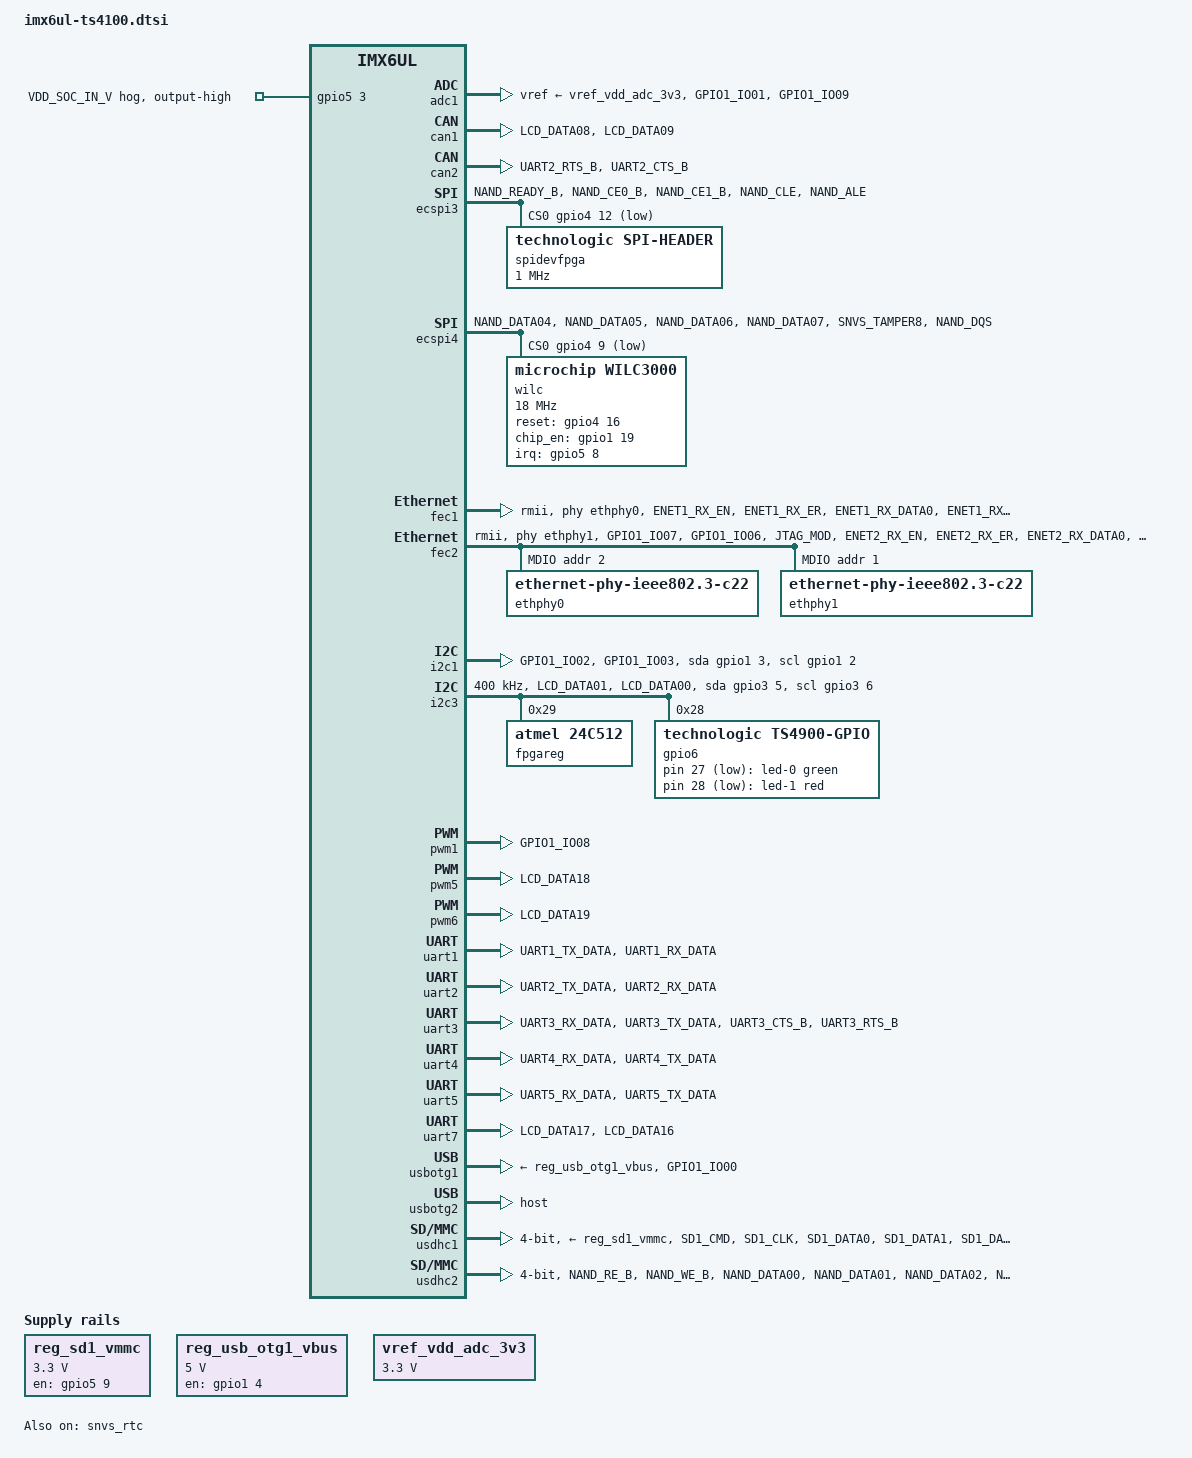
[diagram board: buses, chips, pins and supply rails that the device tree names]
// SPDX-License-Identifier: GPL-2.0 OR X11
/*
 * Copyright (C) 2023 Technologic Systems, Inc. dba embeddedTS
 */

#include <dt-bindings/input/input.h>
#include <dt-bindings/leds/common.h>
#include "imx6ul.dtsi"

/ {
	aliases {
		ethernet0 = &fec2;
		ethernet1 = &fec1;
		gpio5 = &gpio6; /* Map FPGA gpio expander to gpiochip5 */
	};

	chosen {
		stdout-path = &uart1;
	};

	led-controller {
		compatible = "gpio-leds";

		led-0 {
			color = <LED_COLOR_ID_GREEN>;
			function = LED_FUNCTION_POWER;
			gpios = <&gpio6 27 GPIO_ACTIVE_LOW>;
			default-state = "on";
		};

		led-1 {
			color = <LED_COLOR_ID_RED>;
			function = LED_FUNCTION_INDICATOR;
			gpios = <&gpio6 28 GPIO_ACTIVE_LOW>;
			default-state = "off";
		};
	};

	memory {
		/* Memory size to be filled in by U-Boot */
		reg = <0x80000000 0>;
	};

	reg_sd1_vmmc: regulator-sd1-vmmc {
		compatible = "regulator-fixed";
		pinctrl-names = "default";
		pinctrl-0 = <&pinctrl_sd1_vmmc>;
		regulator-name = "SD1_VMMC";
		regulator-min-microvolt = <3300000>;
		regulator-max-microvolt = <3300000>;
		enable-gpio = <&gpio5 9 GPIO_ACTIVE_HIGH>;
		enable-active-high;
	};

	reg_usb_otg1_vbus: regulator-otg1-vbus {
		compatible = "regulator-fixed";
		pinctrl-names = "default";
		pinctrl-0 = <&pinctrl_usb_otg1>;
		regulator-name = "USB_OTG1_VBUS";
		regulator-min-microvolt = <5000000>;
		regulator-max-microvolt = <5000000>;
		gpio = <&gpio1 4 GPIO_ACTIVE_HIGH>;
		enable-active-high;
	};

	vref_vdd_adc_3v3: regulator-adc-vref {
	      compatible = "regulator-fixed";
	      regulator-name = "ADC_VREF";
	      regulator-min-microvolt = <3300000>;
	      regulator-max-microvolt = <3300000>;
	      regulator-boot-on;
	      regulator-always-on;
	};
};

&adc1  {
	pinctrl-names = "default";
	pinctrl-0 = <&pinctrl_adc1>;
	vref-supply = <&vref_vdd_adc_3v3>;
	status = "okay";
};

&can1 {
	pinctrl-names = "default";
	pinctrl-0 = <&pinctrl_flexcan1>;
	status = "okay";
};

&can2 {
	pinctrl-names = "default";
	pinctrl-0 = <&pinctrl_flexcan2>;
	status = "okay";
};

&ecspi3 {
	num-cs = <1>;
	cs-gpios = <&gpio4 12 GPIO_ACTIVE_LOW>;
	pinctrl-names = "default";
	pinctrl-0 = <&pinctrl_ecspi3>;
	status = "okay";

	spidevfpga: spi@0 {
		compatible = "technologic,spi-header";
		reg = <0>;
		spi-max-frequency = <1000000>;
	};
};

&ecspi4 {
	num-cs = <1>;
	cs-gpios = <&gpio4 9 GPIO_ACTIVE_LOW>;
	pinctrl-names = "default";
	pinctrl-0 = <&pinctrl_ecspi4>;
	status = "okay";

	wilc: wifi@0 {
		compatible = "microchip,wilc3000";
		reg = <0>;
		/* XXX: Lower this */
		spi-max-frequency = <18000000>;
		reset-gpios = <&gpio4 16 GPIO_ACTIVE_HIGH>;
		chip_en-gpios = <&gpio1 19 GPIO_ACTIVE_HIGH>;
		interrupt-parent = <&gpio5>;
		interrupts = <8 IRQ_TYPE_EDGE_FALLING>;
	};
};

&fec1 {
	pinctrl-names = "default";
	pinctrl-0 = <&pinctrl_enet1>;
	phy-mode = "rmii";
	phy-handle = <&ethphy0>;
	status = "okay";
};

&fec2 {
	pinctrl-names = "default";
	pinctrl-0 = <&pinctrl_enet2>;
	phy-mode = "rmii";
	phy-handle = <&ethphy1>;
	status = "okay";

	mdio {
		#address-cells = <1>;
		#size-cells = <0>;

		ethphy0: ethernet-phy@2 {
			clocks = <&clks IMX6UL_CLK_ENET_REF>;
			clock-names = "rmii-ref";
			compatible = "ethernet-phy-ieee802.3-c22";
			reg = <2>;
		};

		ethphy1: ethernet-phy@1 {
			clocks = <&clks IMX6UL_CLK_ENET2_REF>;
			clock-names = "rmii-ref";
			compatible = "ethernet-phy-ieee802.3-c22";
			reg = <1>;
		};
	};
};

&gpio1 {
	gpio-line-names = "USB_OTG_ID", "GPIO_1_ADC", "I2C_1_CLK", "I2C_1_DAT",
		"EN_OTG1_5V", "", "", "", "GPIO_8_PWM", "GPIO_9_ADC", "", "",
		"", "", "", "", "", "", "SPARE_1", "SPARE_2";
};

&gpio3 {
	gpio-line-names = "LCD_PIX_CLK", "EN_LCD_3.3V", "LCD_HSYNC", "LCD_VSYNC",
		"", "I2C_3_DAT", "I2C_3_CLK", "LCD_D02", "LCD_D03", "LCD_D04",
		"LCD_D05", "LCD_D06", "LCD_D07", "", "", "LCD_D10", "LCD_D11",
		"LCD_D12", "LCD_D13", "LCD_D14", "LCD_D15", "", "", "LCD_D18_PWM5",
		"LCD_D19_PWM6", "LCD_D20", "LCD_D21", "LCD_D22", "LCD_D23";
};

&gpio4 {
	gpio-line-names = "", "", "", "", "", "", "", "", "", "", "", "FPGA_RESET#",
		"", "", "", "", "", "CAM_MCLK", "CAM_PIX_CLK", "CAM_VSYNC",
		"CAM_HSYNC", "CAM_D_0", "CAM_D_1", "CAM_D_2", "CAM_D_3", "CAM_D_4",
		"CAM_D_5", "CAM_D_6", "CAM_D_7";
};

&gpio5 {
	gpio-line-names = "POWER_FAIL", "FPGA_IRQ", "EN_EMMC_PWR", "",
		"JTAG_FPGA_TDO", "JTAG_FPGA_TDI", "JTAG_FPGA_TMS", "JTAG_JTAG_TCK";

	vdd-soc-in-v-hog {
		gpio-hog;
		gpios = <3 GPIO_ACTIVE_HIGH>;
		output-high;
		line-name = "VDD_SOC_IN_V";
	};
};

/* These must be GPIO mode for uC WDT */
&i2c1 {
	compatible = "i2c-gpio";
	pinctrl-names = "default";
	pinctrl-0 = <&pinctrl_i2c1_gpio>;
	sda-gpios = <&gpio1 3 (GPIO_ACTIVE_HIGH|GPIO_OPEN_DRAIN)>;
	scl-gpios = <&gpio1 2 (GPIO_ACTIVE_HIGH|GPIO_OPEN_DRAIN)>;
	#address-cells = <1>;
	#size-cells = <0>;
	status = "okay";

	silabs: wdt@4a {
		compatible = "technologic,ts-wdt";
		timeout-sec = <500>;
		enable-early;
		reg = <0x4a>;
		/*
		 * Not using uC WDT by default any longer. If you need features
		 * provided by this, such as a real poweroff state, an external
		 * WDT, or proper feedback from the uC on the platform's reboot
		 * source (via tsmicroctl), then enable this driver (and disable
		 * the CPU driver, wdog1,  unless you want both active).
		 */
		status = "disabled";
	};
};

&i2c3 {
	clock-frequency = <400000>;
	pinctrl-names = "default", "gpio";
	pinctrl-0 = <&pinctrl_i2c3>;
	pinctrl-1 = <&pinctrl_i2c3_gpio>;
	status = "okay";
	sda-gpios = <&gpio3 5 (GPIO_ACTIVE_HIGH|GPIO_OPEN_DRAIN)>;
	scl-gpios = <&gpio3 6 (GPIO_ACTIVE_HIGH|GPIO_OPEN_DRAIN)>;

	/* FPGA emulates register access like an eeprom */
	fpgareg: eeprom@29 {
		compatible = "atmel,24c512";
		reg = <0x29>;
	};

	/* This may need to be reworked here */
	gpio6: gpio-controller@28 {
		compatible = "technologic,ts4900-gpio";
		reg = <0x28>;
		#gpio-cells = <2>;
		gpio-controller;
		base = <160>;
		ngpios = <128>;

		gpio-line-names = "", "SPARE_1", "SPARE_2", "WIFI_RESET#", "WIFI_IRQ",
			"UART2_TXD", "UART2_CTS#", "UART3_TXD", "UART6_TXD",
			"UART2_RXD", "UART2_RTS#", "UART3_RXD", "UART6_RXD",
			"WIFI_RXD", "WIFI_RTS", "WIFI_IRQ#", "WIFI_TXD",
			"WIFI_CTS", "ZPU_BREAK", "ZPU_RESET", "EN_WIFI_PWR",
			"WIFI_RESET#", "EN_USB_HOST_5V", "EN_LCD_3V3",
			"ETH_PHY_RESET#", "OFF_BD_RESET#", "", "GREEN_LED#",
			"RED_LED#", "UARTA_RXD", "UARTB_RXD", "UARTC_RXD",
			"UARTD_RXD", "UARTA_TXD", "UARTB_TXD", "UARTC_TXD",
			"UARTD_TXD", "DIO_0", "DIO_1", "DIO_2", "DIO_3", "DIO_4",
			"DIO_5", "DIO_6", "DIO_7", "DIO_8", "DIO_9", "", "",
			"DIO_12", "DIO_13", "DIO_14", "DIO_15", "DIO_16", "DIO_17",
			"DIO_18", "DIO_19", "DIO_20", "DIO_21", "DIO_22",
			"DIO_23", "DIO_24", "DIO_25", "DIO_26", "DIO_27",
			"DIO_28", "DIO_29", "DIO_30", "DIO_31", "DIO_32",
			"DIO_33", "DIO_34", "DIO_35", "DIO_36", "DIO_37",
			"DIO_38", "DIO_39", "", "DIO_41", "DIO_42", "DIO_43",
			"DIO_44", "DIO_45", "DIO_46";
	};
};

&iomuxc {
	pinctrl-names = "default";
	pinctrl-0 = <&ts4100_pinctrl_hog>;
	imx6ul-ts4100 {
		/* NOTE: All of the hogged pins below are the common rule.
		 * Exceptions for them are listed in their respective baseboard
		 * DTS.
		 *
		 * Most IO pins default to GPIO, however they are set up with
		 * keepers rather than a sane pull.  Because of that, we have to
		 * list them all here so they are set up in a known state.
		 * It is then up to individual DTS files to call out the pinctrl
		 * needed for pins that could have different states.
		 */
		/* All GPIO should be 0x1b020 unless special
		 * 0x1b020 == Hyst., 100k PU, 50 mA drive
		 * 0x1a020 == no pull resistor
		 * 0x13020 == 100k PD
		 */
		ts4100_pinctrl_hog: hoggrp {
			fsl,pins = <
				/* SD1 VSELECT, special setting */
				MX6UL_PAD_GPIO1_IO05__USDHC1_VSELECT	0x17059
				/* POWER_FAIL */
				MX6UL_PAD_SNVS_TAMPER0__GPIO5_IO00	0x13020
				/* FPGA_IRQ */
				MX6UL_PAD_SNVS_TAMPER1__GPIO5_IO01	0x13020
				/* FPGA_RESET# */
				MX6UL_PAD_NAND_WP_B__GPIO4_IO11		0x1b020
				/* JTAG_FPGA_TDO */
				MX6UL_PAD_SNVS_TAMPER4__GPIO5_IO04	0x1b020
				/* JTAG_FPGA_TDI */
				MX6UL_PAD_SNVS_TAMPER5__GPIO5_IO05	0x1b020
				/* JTAG_FPGA_TMS */
				MX6UL_PAD_SNVS_TAMPER6__GPIO5_IO06	0x1b020
				/* JTAG_FPGA_TCK */
				MX6UL_PAD_SNVS_TAMPER7__GPIO5_IO07	0x1b020
				/* SPARE_1 */
				MX6UL_PAD_UART1_CTS_B__GPIO1_IO18	0x1b020
				/* SPARE_2 */
				MX6UL_PAD_UART1_RTS_B__GPIO1_IO19	0x1b020
				/* eMMC En. */
				MX6UL_PAD_SNVS_TAMPER2__GPIO5_IO02	0x1b020
				/* VDD_SOC_IN_V control */
				MX6UL_PAD_SNVS_TAMPER3__GPIO5_IO03	0x79
			>;
		};

		pinctrl_adc1: adc1grp{
			fsl,pins = <
				MX6UL_PAD_GPIO1_IO01__GPIO1_IO01	0x1a020
				MX6UL_PAD_GPIO1_IO09__GPIO1_IO09	0x1a020
			>;
		};

		pinctrl_cam_gpio: cameragpio {
			fsl,pins = <
				/* Camera interface pins */
				MX6UL_PAD_CSI_DATA00__GPIO4_IO21	0x1b020
				MX6UL_PAD_CSI_DATA01__GPIO4_IO22	0x1b020
				MX6UL_PAD_CSI_DATA02__GPIO4_IO23	0x1b020
				MX6UL_PAD_CSI_DATA03__GPIO4_IO24	0x1b020
				MX6UL_PAD_CSI_DATA04__GPIO4_IO25	0x1b020
				MX6UL_PAD_CSI_DATA05__GPIO4_IO26	0x1b020
				MX6UL_PAD_CSI_DATA06__GPIO4_IO27	0x1b020
				MX6UL_PAD_CSI_DATA07__GPIO4_IO28	0x1b020
				MX6UL_PAD_CSI_HSYNC__GPIO4_IO20		0x1b020
				MX6UL_PAD_CSI_MCLK__GPIO4_IO17		0x1b020
				MX6UL_PAD_CSI_PIXCLK__GPIO4_IO18	0x1b020
				MX6UL_PAD_CSI_VSYNC__GPIO4_IO19		0x1b020
			>;
		};

		pinctrl_ecspi3: ecspi3grp {
			fsl,pins = <
				/* SPI_3_FPGA_CS# */
				MX6UL_PAD_NAND_READY_B__GPIO4_IO12 	0x10b0
				MX6UL_PAD_NAND_CE0_B__ECSPI3_SCLK	0x10b0
				MX6UL_PAD_NAND_CE1_B__ECSPI3_MOSI	0x10b0
				MX6UL_PAD_NAND_CLE__ECSPI3_MISO		0x10b0
				/* SPI_3_OFF_BD_CS# */
				MX6UL_PAD_NAND_ALE__GPIO4_IO10		0x10b0
			>;
		};

		pinctrl_ecspi4: ecspi4grp {
			fsl,pins = <
				MX6UL_PAD_NAND_DATA04__ECSPI4_SCLK	0x10b0
				MX6UL_PAD_NAND_DATA05__ECSPI4_MOSI	0x10b0
				MX6UL_PAD_NAND_DATA06__ECSPI4_MISO	0x10b0
				/* WIFI chip select */
				MX6UL_PAD_NAND_DATA07__GPIO4_IO09	0x10b0
				/* SPARE_4/WIFI_IRQ */
				MX6UL_PAD_SNVS_TAMPER8__GPIO5_IO08	0x1b020
				/* SPARE_3/WIFI_RESET# */
				MX6UL_PAD_NAND_DQS__GPIO4_IO16		0x1b020
			>;
		};

		pinctrl_enet1: enet1grp {
			fsl,pins = <
				MX6UL_PAD_ENET1_RX_EN__ENET1_RX_EN	0x1b0b0
				MX6UL_PAD_ENET1_RX_ER__ENET1_RX_ER	0x1b0b0
				MX6UL_PAD_ENET1_RX_DATA0__ENET1_RDATA00	0x1b0b0
				MX6UL_PAD_ENET1_RX_DATA1__ENET1_RDATA01	0x1b0b0
				MX6UL_PAD_ENET1_TX_EN__ENET1_TX_EN	0x1b0b0
				MX6UL_PAD_ENET1_TX_DATA0__ENET1_TDATA00	0x1b0b0
				MX6UL_PAD_ENET1_TX_DATA1__ENET1_TDATA01	0x1b0b0
				MX6UL_PAD_ENET1_TX_CLK__ENET1_REF_CLK1	0x4001b031
			>;
		};

		pinctrl_enet2: enet2grp {
			fsl,pins = <
				MX6UL_PAD_GPIO1_IO07__ENET2_MDC		0x1b0b0
				MX6UL_PAD_GPIO1_IO06__ENET2_MDIO	0x1b0b0
				MX6UL_PAD_JTAG_MOD__GPIO1_IO10		0x1f0b0
				MX6UL_PAD_ENET2_RX_EN__ENET2_RX_EN	0x1b0b0
				MX6UL_PAD_ENET2_RX_ER__ENET2_RX_ER	0x1b0b0
				MX6UL_PAD_ENET2_RX_DATA0__ENET2_RDATA00	0x1b0b0
				MX6UL_PAD_ENET2_RX_DATA1__ENET2_RDATA01	0x1b0b0
				MX6UL_PAD_ENET2_TX_EN__ENET2_TX_EN	0x1b0b0
				MX6UL_PAD_ENET2_TX_DATA0__ENET2_TDATA00	0x1b0b0
				MX6UL_PAD_ENET2_TX_DATA1__ENET2_TDATA01	0x1b0b0
				MX6UL_PAD_ENET2_TX_CLK__ENET2_REF_CLK2	0x4001b031
			>;
		};

		pinctrl_flexcan1: flexcan1grp{
			fsl,pins = <
				MX6UL_PAD_LCD_DATA08__FLEXCAN1_TX	0x1b020
				MX6UL_PAD_LCD_DATA09__FLEXCAN1_RX	0x1b020
			>;
		};

		pinctrl_flexcan2: flexcan2grp{
			fsl,pins = <
				MX6UL_PAD_UART2_RTS_B__FLEXCAN2_RX	0x1b020
				MX6UL_PAD_UART2_CTS_B__FLEXCAN2_TX	0x1b020
			>;
		};

		pinctrl_i2c1_gpio: i2c1grpgpio {
			fsl,pins = <
				MX6UL_PAD_GPIO1_IO02__GPIO1_IO02	0x4001b8b0
				MX6UL_PAD_GPIO1_IO03__GPIO1_IO03	0x4001b8b0
			>;
		};

		pinctrl_i2c3: i2c3grp {
			fsl,pins = <
				MX6UL_PAD_LCD_DATA01__I2C3_SCL		0x4001b8b0
				MX6UL_PAD_LCD_DATA00__I2C3_SDA		0x4001b8b0
			>;
		};

		pinctrl_i2c3_gpio: i2c3grpgpio {
			fsl,pins = <
				MX6UL_PAD_LCD_DATA01__GPIO3_IO06	0x4001b8b0
				MX6UL_PAD_LCD_DATA00__GPIO3_IO05	0x4001b8b0
			>;
		};

		pinctrl_lcd_gpio: lcdgpio {
			fsl,pins = <
				/* LCD Interface pins */
				MX6UL_PAD_LCD_DATA02__GPIO3_IO07	0x1b020
				MX6UL_PAD_LCD_DATA03__GPIO3_IO08	0x1b020
				MX6UL_PAD_LCD_DATA04__GPIO3_IO09	0x1b020
				MX6UL_PAD_LCD_DATA05__GPIO3_IO10	0x1b020
				MX6UL_PAD_LCD_DATA06__GPIO3_IO11	0x1b020
				MX6UL_PAD_LCD_DATA07__GPIO3_IO12	0x1b020
				MX6UL_PAD_LCD_DATA10__GPIO3_IO15	0x1b020
				MX6UL_PAD_LCD_DATA11__GPIO3_IO16	0x1b020
				MX6UL_PAD_LCD_DATA12__GPIO3_IO17	0x1b020
				MX6UL_PAD_LCD_DATA13__GPIO3_IO18	0x1b020
				MX6UL_PAD_LCD_DATA14__GPIO3_IO19	0x1b020
				MX6UL_PAD_LCD_DATA15__GPIO3_IO20	0x1b020
				MX6UL_PAD_LCD_DATA20__GPIO3_IO25	0x1b020
				MX6UL_PAD_LCD_DATA21__GPIO3_IO26	0x1b020
				MX6UL_PAD_LCD_DATA22__GPIO3_IO27	0x1b020
				MX6UL_PAD_LCD_DATA23__GPIO3_IO28	0x1b020
				MX6UL_PAD_LCD_CLK__GPIO3_IO00		0x1b020
				MX6UL_PAD_LCD_ENABLE__GPIO3_IO01	0x1b020
				MX6UL_PAD_LCD_HSYNC__GPIO3_IO02		0x1b020
				MX6UL_PAD_LCD_VSYNC__GPIO3_IO03		0x1b020
			>;
		};

		pinctrl_pwm1: ts4100pwm1 {
			fsl,pins = <
				MX6UL_PAD_GPIO1_IO08__PWM1_OUT		0x13020
			>;
		};

		/*  adc1 is currently using IO09,to use pwm2 remove IO09 from the ADC
		 *  definition and set pwm2 peripheral to "okay"
		 */
		pinctrl_pwm2: ts4100pwm2 {
			fsl,pins = <
				MX6UL_PAD_GPIO1_IO09__PWM2_OUT		0x13020
			>;
		};

		pinctrl_pwm5: ts4100pwm5 {
			fsl,pins = <
				MX6UL_PAD_LCD_DATA18__PWM5_OUT		0x13020
			>;
		};

		pinctrl_pwm6: ts4100pwm6 {
			fsl,pins = <
				MX6UL_PAD_LCD_DATA19__PWM6_OUT		0x13020
			>;
		};

		pinctrl_sai2: sai2grp {
			fsl,pins = <
				MX6UL_PAD_JTAG_TDI__SAI2_TX_BCLK	0x17088
				MX6UL_PAD_JTAG_TDO__SAI2_TX_SYNC	0x17088
				MX6UL_PAD_JTAG_TRST_B__SAI2_TX_DATA	0x11088
				MX6UL_PAD_JTAG_TCK__SAI2_RX_DATA	0x11088
				MX6UL_PAD_JTAG_TMS__SAI2_MCLK		0x17088
			>;
		};

		pinctrl_sd1_vmmc: sd1vmmcgrp {
			fsl,pins = <
				/* EN_SD_POWER, special setting*/
				MX6UL_PAD_SNVS_TAMPER9__GPIO5_IO09	0x17059
			>;
		};

		pinctrl_uart1: uart1grp {
			fsl,pins = <
				MX6UL_PAD_UART1_TX_DATA__UART1_DCE_TX	0x1b0b1
				MX6UL_PAD_UART1_RX_DATA__UART1_DCE_RX	0x1b0b1
			>;
		};

		pinctrl_uart2: uart2grp {
			fsl,pins = <
				MX6UL_PAD_UART2_TX_DATA__UART2_DCE_TX	0x1b0b1
				MX6UL_PAD_UART2_RX_DATA__UART2_DCE_RX	0x1b0b1
			>;
		};

		pinctrl_uart3: uart3grp {
			fsl,pins = <
				MX6UL_PAD_UART3_RX_DATA__UART3_DCE_RX	0x1b0b1
				MX6UL_PAD_UART3_TX_DATA__UART3_DCE_TX	0x1b0b1
				MX6UL_PAD_UART3_CTS_B__UART3_DCE_CTS	0x1b0b1
				MX6UL_PAD_UART3_RTS_B__UART3_DCE_RTS	0x1b0b1
			>;
		};

		pinctrl_uart4: uart4grp {
			fsl,pins = <
				MX6UL_PAD_UART4_RX_DATA__UART4_DCE_RX	0x1b0b1
				MX6UL_PAD_UART4_TX_DATA__UART4_DCE_TX	0x1b0b1
			>;
		};

		pinctrl_uart5: uart5grp {
			fsl,pins = <
				MX6UL_PAD_UART5_RX_DATA__UART5_DCE_RX	0x1b0b1
				MX6UL_PAD_UART5_TX_DATA__UART5_DCE_TX	0x1b0b1
			>;
		};

		pinctrl_uart7: uart7grp {
			fsl,pins = <
				MX6UL_PAD_LCD_DATA17__UART7_DCE_RX	0x1b0b1
				MX6UL_PAD_LCD_DATA16__UART7_DCE_TX	0x1b0b1
			>;
		};

		pinctrl_usb_otg1_id: usbotg1idgrp {
			fsl,pins = <
				MX6UL_PAD_GPIO1_IO00__ANATOP_OTG1_ID	0x17059
			>;
		};

		/* OTG1 PWR: XXX: should this hook up to not GPIO? */
		pinctrl_usb_otg1: usbotg1grp {
			fsl,pins = <
				MX6UL_PAD_GPIO1_IO04__GPIO1_IO04	0x10b0
			>;
		};

		pinctrl_usdhc1: usdhc1grp {
			fsl,pins = <
				MX6UL_PAD_SD1_CMD__USDHC1_CMD		0x17059
				MX6UL_PAD_SD1_CLK__USDHC1_CLK		0x10071
				MX6UL_PAD_SD1_DATA0__USDHC1_DATA0	0x17059
				MX6UL_PAD_SD1_DATA1__USDHC1_DATA1	0x17059
				MX6UL_PAD_SD1_DATA2__USDHC1_DATA2	0x17059
				MX6UL_PAD_SD1_DATA3__USDHC1_DATA3	0x17059
			>;
		};

		pinctrl_usdhc1_100mhz: usdhc1grp100mhz {
			fsl,pins = <
				MX6UL_PAD_SD1_CMD__USDHC1_CMD		0x170b9
				MX6UL_PAD_SD1_CLK__USDHC1_CLK		0x100b9
				MX6UL_PAD_SD1_DATA0__USDHC1_DATA0	0x170b9
				MX6UL_PAD_SD1_DATA1__USDHC1_DATA1	0x170b9
				MX6UL_PAD_SD1_DATA2__USDHC1_DATA2	0x170b9
				MX6UL_PAD_SD1_DATA3__USDHC1_DATA3	0x170b9
			>;
		};

		pinctrl_usdhc1_200mhz: usdhc1grp200mhz {
			fsl,pins = <
				MX6UL_PAD_SD1_CMD__USDHC1_CMD		0x170f9
				MX6UL_PAD_SD1_CLK__USDHC1_CLK		0x100f9
				MX6UL_PAD_SD1_DATA0__USDHC1_DATA0	0x170f9
				MX6UL_PAD_SD1_DATA1__USDHC1_DATA1	0x170f9
				MX6UL_PAD_SD1_DATA2__USDHC1_DATA2	0x170f9
				MX6UL_PAD_SD1_DATA3__USDHC1_DATA3	0x170f9
			>;
		};

		pinctrl_usdhc2: usdhc2grp {
			fsl,pins = <
				MX6UL_PAD_NAND_RE_B__USDHC2_CLK		0x10069
				MX6UL_PAD_NAND_WE_B__USDHC2_CMD		0x17059
				MX6UL_PAD_NAND_DATA00__USDHC2_DATA0	0x17059
				MX6UL_PAD_NAND_DATA01__USDHC2_DATA1	0x17059
				MX6UL_PAD_NAND_DATA02__USDHC2_DATA2	0x17059
				MX6UL_PAD_NAND_DATA03__USDHC2_DATA3	0x17059
			>;
		};

		pinctrl_wdog: wdoggrp {
			fsl,pins = <
				MX6UL_PAD_LCD_RESET__WDOG1_WDOG_ANY	0x30b0
			>;
		};
	};
};

&pwm1 {
	pinctrl-names = "default";
	pinctrl-0 = <&pinctrl_pwm1>;
	status = "okay";
};

&pwm2 {
	pinctrl-names = "default";
	pinctrl-0 = <&pinctrl_pwm2>;
	status = "disabled";
};

&pwm5 {
	pinctrl-names = "default";
	pinctrl-0 = <&pinctrl_pwm5>;
	status = "okay";
};

&pwm6 {
	pinctrl-names = "default";
	pinctrl-0 = <&pinctrl_pwm6>;
	status = "okay";
};

&snvs_rtc {
	status = "okay";
};

&uart1 {
	pinctrl-names = "default";
	pinctrl-0 = <&pinctrl_uart1>;
	status = "okay";
};

&uart2 {
	pinctrl-names = "default";
	pinctrl-0 = <&pinctrl_uart2>;
	status = "okay";
};

&uart3 {
	/* BT, requires CTS/RTS */
	pinctrl-names = "default";
	pinctrl-0 = <&pinctrl_uart3>;
	status = "okay";
	uart-has-rtscts;
};

&uart4 {
	pinctrl-names = "default";
	pinctrl-0 = <&pinctrl_uart4>;
	status = "okay";
};

&uart5 {
	pinctrl-names = "default";
	pinctrl-0 = <&pinctrl_uart5>;
	status = "okay";
};

&uart7 {
	pinctrl-names = "default";
	pinctrl-0 = <&pinctrl_uart7>;
	status = "okay";
};

&usbotg1 {
	vbus-supply = <&reg_usb_otg1_vbus>;
	pinctrl-names = "default";
	pinctrl-0 = <&pinctrl_usb_otg1_id>;
	srp-disable;
	hnp-disable;
	adp-disable;
	status = "okay";
};

&usbotg2 {
	dr_mode = "host";
	disable-over-current;
	status = "okay";
};

&usdhc1 {
	/* keep-power-in-suspend has been found to not have any significant
	 * reduction in power
	 */
	pinctrl-names = "default", "state_100mhz", "state_200mhz";
	pinctrl-0 = <&pinctrl_usdhc1>;
	pinctrl-1 = <&pinctrl_usdhc1_100mhz>;
	pinctrl-2 = <&pinctrl_usdhc1_200mhz>;
	max-frequency = <208000000>;
	keep-power-in-suspend;
	enable-sdio-wakeup;
	disable-wp;
	cap-sd-highspeed;
	sd-uhs-sdr12;
	sd-uhs-sdr25;
	sd-uhs-sdr50;
	sd-uhs-sdr104;
	sd-uhs-ddr50;
	broken-cd = <1>;
	bus-width = <4>;
	vmmc-supply = <&reg_sd1_vmmc>;
	status = "okay";
};

&usdhc2 {
	pinctrl-names = "default";
	pinctrl-0 = <&pinctrl_usdhc2>;
	no-1-8-v;
	disable-wp;
	broken-cd = <1>;
	enable-sdio-wakeup;
	bus-width = <4>;
	status = "okay";
};
